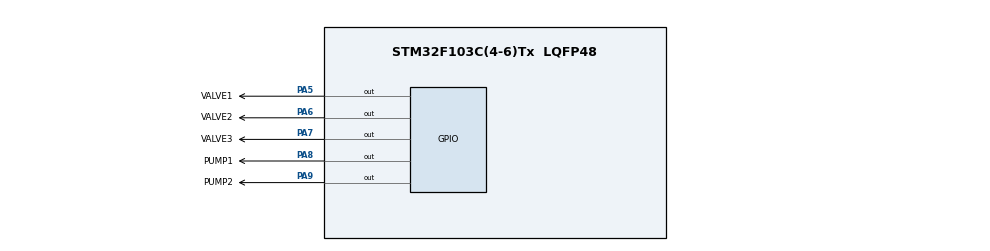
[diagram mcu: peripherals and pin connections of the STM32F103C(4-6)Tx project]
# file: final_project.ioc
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Mcu.Family=STM32F1
Mcu.Name=STM32F103C(4-6)Tx
Mcu.Package=LQFP48
NVIC.PriorityGroup=NVIC_PRIORITYGROUP_4
NVIC.TIM2_IRQn=true\:0\:0\:false\:false\:true\:true\:true
PA5.GPIO_Label=VALVE1
PA5.Signal=GPIO_Output
PA6.GPIO_Label=VALVE2
PA6.Signal=GPIO_Output
PA7.GPIO_Label=VALVE3
PA7.Signal=GPIO_Output
PA8.GPIO_Label=PUMP1
PA8.Signal=GPIO_Output
PA9.GPIO_Label=PUMP2
PA9.Signal=GPIO_Output
ProjectManager.HeapSize=0x200
ProjectManager.StackSize=0x400
ProjectManager.TargetToolchain=STM32CubeIDE
RCC.APB1Freq_Value=8000000
RCC.APB2Freq_Value=8000000
TIM2.Period=9
TIM2.Prescaler=7999
VP_SYS_VS_ND.Mode=No_Debug
VP_TIM2_VS_ClockSourceINT.Mode=Internal
board=custom

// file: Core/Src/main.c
/* USER CODE BEGIN Header */
/**
  ******************************************************************************
  * @file           : main.c
  * @brief          : Main program body
  ******************************************************************************
  * @attention
  *
  * <h2><center>&copy; Copyright (c) 2024 STMicroelectronics.
  * All rights reserved.</center></h2>
  *
  * This software component is licensed by ST under BSD 3-Clause license,
  * the "License"; You may not use this file except in compliance with the
  * License. You may obtain a copy of the License at:
  *                        opensource.org/licenses/BSD-3-Clause
  *
  ******************************************************************************
  */
/* USER CODE END Header */
#include "main.h"
#include "scheduler.h"
#include "software_timer.h"

TIM_HandleTypeDef htim2;

void SystemClock_Config(void);
static void MX_TIM2_Init(void);
static void MX_GPIO_Init(void);

/* USER CODE BEGIN 0 */
#define TASK_INIT 0
#define TASK_1 1
#define TASK_2 2
#define TASK_3 3
#define TASK_4 4
#define TASK_5 5
#define IDLE 6
int status = TASK_INIT;

void irrigationSystem (){
	switch (status){
	case TASK_INIT:
		HAL_GPIO_WritePin(GPIOA, VALVE1_Pin,GPIO_PIN_RESET);
		HAL_GPIO_WritePin(GPIOA, VALVE2_Pin,GPIO_PIN_RESET);
		HAL_GPIO_WritePin(GPIOA, VALVE3_Pin,GPIO_PIN_RESET);
		HAL_GPIO_WritePin(GPIOA, PUMP1_Pin,GPIO_PIN_RESET);
		HAL_GPIO_WritePin(GPIOA, PUMP2_Pin,GPIO_PIN_RESET);
		status = TASK_1;
		setTimer(0,500);
		break;

	case TASK_1:
		HAL_GPIO_WritePin(GPIOA, VALVE1_Pin,GPIO_PIN_SET);
		if (isTimerExpired(0)){
			HAL_GPIO_WritePin(GPIOA, VALVE1_Pin,GPIO_PIN_RESET);
			status = TASK_2;
			setTimer(0,500);
		}
		break;

	case TASK_2:
		HAL_GPIO_WritePin(GPIOA, VALVE2_Pin,GPIO_PIN_SET);
		if (isTimerExpired(0)){
			HAL_GPIO_WritePin(GPIOA, VALVE2_Pin,GPIO_PIN_RESET);
			status = TASK_3;
			setTimer(0,500);
		}
		break;

	case TASK_3:
		HAL_GPIO_WritePin(GPIOA, VALVE3_Pin,GPIO_PIN_SET);
		if (isTimerExpired(0)){
			HAL_GPIO_WritePin(GPIOA, VALVE3_Pin,GPIO_PIN_RESET);
			status = TASK_4;
			setTimer(0,1000);
		}
		break;

	case TASK_4:
		HAL_GPIO_WritePin(GPIOA, PUMP1_Pin,GPIO_PIN_SET);
		if (isTimerExpired(0)){
			HAL_GPIO_WritePin(GPIOA, PUMP1_Pin,GPIO_PIN_RESET);
			status = TASK_5;
			setTimer(0,3000);
		}
		break;

	case TASK_5:
		HAL_GPIO_WritePin(GPIOA, PUMP2_Pin,GPIO_PIN_SET);
		if (isTimerExpired(0)){
			HAL_GPIO_WritePin(GPIOA, PUMP2_Pin,GPIO_PIN_RESET);
			status = IDLE;
			setTimer(0,6000);
		}
		break;

	case IDLE:
		if (isTimerExpired(0)){
			status = TASK_1;
			setTimer(0,500);
		}
		break;
	default:
		break;
	}
}
/* USER CODE END 0 */

int main(void)
{

  /* MCU Configuration--------------------------------------------------------*/

  /* Reset of all peripherals, Initializes the Flash interface and the Systick. */
  HAL_Init();

  /* Configure the system clock */
  SystemClock_Config();

  /* Initialize all configured peripherals */
  MX_TIM2_Init();
  MX_GPIO_Init();
  /* USER CODE BEGIN 2 */
  HAL_TIM_Base_Start_IT(&htim2);
  SCH_Add_Task(timerRun, 0, 1);
  SCH_Add_Task(irrigationSystem, 0, 1);
  /* USER CODE END 2 */

  /* Infinite loop */
  while (1)
  {
	  SCH_Dispatch_Tasks();
  }
}

void SystemClock_Config(void)
{
  RCC_OscInitTypeDef RCC_OscInitStruct = {0};
  RCC_ClkInitTypeDef RCC_ClkInitStruct = {0};

  /** Initializes the RCC Oscillators according to the specified parameters
  * in the RCC_OscInitTypeDef structure.
  */
  RCC_OscInitStruct.OscillatorType = RCC_OSCILLATORTYPE_HSI;
  RCC_OscInitStruct.HSIState = RCC_HSI_ON;
  RCC_OscInitStruct.HSICalibrationValue = RCC_HSICALIBRATION_DEFAULT;
  RCC_OscInitStruct.PLL.PLLState = RCC_PLL_NONE;
  if (HAL_RCC_OscConfig(&RCC_OscInitStruct) != HAL_OK)
  {
    Error_Handler();
  }
  /** Initializes the CPU, AHB and APB buses clocks
  */
  RCC_ClkInitStruct.ClockType = RCC_CLOCKTYPE_HCLK|RCC_CLOCKTYPE_SYSCLK
                              |RCC_CLOCKTYPE_PCLK1|RCC_CLOCKTYPE_PCLK2;
  RCC_ClkInitStruct.SYSCLKSource = RCC_SYSCLKSOURCE_HSI;
  RCC_ClkInitStruct.AHBCLKDivider = RCC_SYSCLK_DIV1;
  RCC_ClkInitStruct.APB1CLKDivider = RCC_HCLK_DIV1;
  RCC_ClkInitStruct.APB2CLKDivider = RCC_HCLK_DIV1;

  if (HAL_RCC_ClockConfig(&RCC_ClkInitStruct, FLASH_LATENCY_0) != HAL_OK)
  {
    Error_Handler();
  }
}

static void MX_TIM2_Init(void)
{

  TIM_ClockConfigTypeDef sClockSourceConfig = {0};
  TIM_MasterConfigTypeDef sMasterConfig = {0};

  htim2.Instance = TIM2;
  htim2.Init.Prescaler = 7999;
  htim2.Init.CounterMode = TIM_COUNTERMODE_UP;
  htim2.Init.Period = 9;
  htim2.Init.ClockDivision = TIM_CLOCKDIVISION_DIV1;
  htim2.Init.AutoReloadPreload = TIM_AUTORELOAD_PRELOAD_DISABLE;
  if (HAL_TIM_Base_Init(&htim2) != HAL_OK)
  {
    Error_Handler();
  }
  sClockSourceConfig.ClockSource = TIM_CLOCKSOURCE_INTERNAL;
  if (HAL_TIM_ConfigClockSource(&htim2, &sClockSourceConfig) != HAL_OK)
  {
    Error_Handler();
  }
  sMasterConfig.MasterOutputTrigger = TIM_TRGO_RESET;
  sMasterConfig.MasterSlaveMode = TIM_MASTERSLAVEMODE_DISABLE;
  if (HAL_TIMEx_MasterConfigSynchronization(&htim2, &sMasterConfig) != HAL_OK)
  {
    Error_Handler();
  }

}

static void MX_GPIO_Init(void)
{
  GPIO_InitTypeDef GPIO_InitStruct = {0};

  /* GPIO Ports Clock Enable */
  __HAL_RCC_GPIOA_CLK_ENABLE();

  /*Configure GPIO pin Output Level */
  HAL_GPIO_WritePin(GPIOA, VALVE1_Pin|VALVE2_Pin|VALVE3_Pin|PUMP1_Pin
                          |PUMP2_Pin, GPIO_PIN_RESET);

  /*Configure GPIO pins : VALVE1_Pin VALVE2_Pin VALVE3_Pin PUMP1_Pin
                           PUMP2_Pin */
  GPIO_InitStruct.Pin = VALVE1_Pin|VALVE2_Pin|VALVE3_Pin|PUMP1_Pin
                          |PUMP2_Pin;
  GPIO_InitStruct.Mode = GPIO_MODE_OUTPUT_PP;
  GPIO_InitStruct.Pull = GPIO_NOPULL;
  GPIO_InitStruct.Speed = GPIO_SPEED_FREQ_LOW;
  HAL_GPIO_Init(GPIOA, &GPIO_InitStruct);

}

/* USER CODE BEGIN 4 */
void HAL_TIM_PeriodElapsedCallback(TIM_HandleTypeDef *htim) {
	SCH_Update();
}
/* USER CODE END 4 */

void Error_Handler(void)
{
  __disable_irq();
  while (1)
  {
  }
}

/************************ (C) COPYRIGHT STMicroelectronics *****END OF FILE****/
